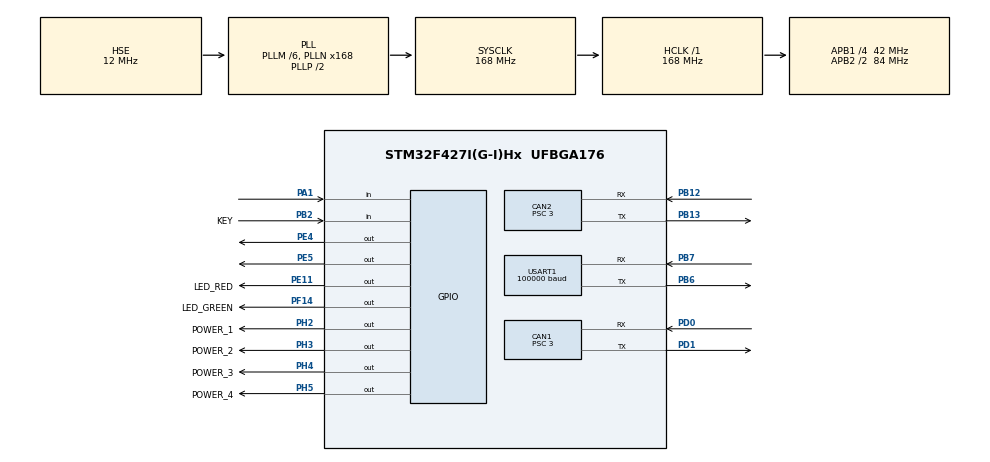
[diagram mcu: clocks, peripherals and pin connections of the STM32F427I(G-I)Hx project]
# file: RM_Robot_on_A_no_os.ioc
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CAN1.BS1=CAN_BS1_9TQ
CAN1.BS2=CAN_BS2_4TQ
CAN1.CalculateBaudRate=1000000
CAN1.CalculateTimeBit=1000
CAN1.CalculateTimeQuantum=71.42857142857143
CAN1.Prescaler=3
CAN2.BS1=CAN_BS1_9TQ
CAN2.BS2=CAN_BS2_4TQ
CAN2.CalculateBaudRate=1000000
CAN2.CalculateTimeBit=1000
CAN2.CalculateTimeQuantum=71.42857142857143
CAN2.Prescaler=3
Dma.Request0=USART1_RX
Dma.USART1_RX.0.Direction=DMA_PERIPH_TO_MEMORY
Dma.USART1_RX.0.FIFOMode=DMA_FIFOMODE_DISABLE
Dma.USART1_RX.0.Instance=DMA2_Stream2
Dma.USART1_RX.0.MemDataAlignment=DMA_MDATAALIGN_BYTE
Dma.USART1_RX.0.MemInc=DMA_MINC_ENABLE
Dma.USART1_RX.0.Mode=DMA_NORMAL
Dma.USART1_RX.0.PeriphDataAlignment=DMA_PDATAALIGN_BYTE
Dma.USART1_RX.0.PeriphInc=DMA_PINC_DISABLE
Dma.USART1_RX.0.Priority=DMA_PRIORITY_LOW
Mcu.Family=STM32F4
Mcu.Name=STM32F427I(G-I)Hx
Mcu.Package=UFBGA176
NVIC.CAN1_RX0_IRQn=true\:0\:0\:false\:false\:true\:true\:true\:true
NVIC.CAN1_TX_IRQn=true\:0\:0\:false\:false\:true\:true\:true\:true
NVIC.CAN2_RX0_IRQn=true\:0\:0\:false\:false\:true\:true\:true\:true
NVIC.CAN2_TX_IRQn=true\:0\:0\:false\:false\:true\:true\:true\:true
NVIC.DMA2_Stream2_IRQn=true\:0\:0\:false\:false\:true\:false\:true\:true
NVIC.PriorityGroup=NVIC_PRIORITYGROUP_4
NVIC.USART1_IRQn=true\:0\:0\:false\:false\:false\:true\:true\:true
PA1.GPIO_PuPd=GPIO_PULLDOWN
PA1.Signal=GPIO_Input
PA13.Mode=Serial_Wire
PA13.Signal=SYS_JTMS-SWDIO
PA14.Mode=Serial_Wire
PA14.Signal=SYS_JTCK-SWCLK
PB12.Mode=CAN_Activate
PB12.Signal=CAN2_RX
PB13.Mode=CAN_Activate
PB13.Signal=CAN2_TX
PB2/BOOT1.GPIO_Label=KEY
PB2/BOOT1.Signal=GPIO_Input
PB6.Mode=Asynchronous
PB6.Signal=USART1_TX
PB7.Mode=Asynchronous
PB7.Signal=USART1_RX
PD0.Mode=CAN_Activate
PD0.Signal=CAN1_RX
PD1.Mode=CAN_Activate
PD1.Signal=CAN1_TX
PE11.GPIO_Label=LED_RED
PE11.Signal=GPIO_Output
PE4.GPIO_PuPd=GPIO_PULLDOWN
PE4.Signal=GPIO_Output
PE5.GPIO_PuPd=GPIO_PULLDOWN
PE5.Signal=GPIO_Output
PF14.GPIO_Label=LED_GREEN
PF14.Signal=GPIO_Output
PH0/OSC_IN.Mode=HSE-External-Oscillator
PH0/OSC_IN.Signal=RCC_OSC_IN
PH1/OSC_OUT.Mode=HSE-External-Oscillator
PH1/OSC_OUT.Signal=RCC_OSC_OUT
PH2.GPIO_Label=POWER_1
PH2.Signal=GPIO_Output
PH3.GPIO_Label=POWER_2
PH3.Signal=GPIO_Output
PH4.GPIO_Label=POWER_3
PH4.Signal=GPIO_Output
PH5.GPIO_Label=POWER_4
PH5.Signal=GPIO_Output
ProjectManager.HeapSize=0x200
ProjectManager.StackSize=0x400
ProjectManager.TargetToolchain=MDK-ARM V5
RCC.48MHZClocksFreq_Value=84000000
RCC.AHBFreq_Value=168000000
RCC.APB1CLKDivider=RCC_HCLK_DIV4
RCC.APB1Freq_Value=42000000
RCC.APB1TimFreq_Value=84000000
RCC.APB2CLKDivider=RCC_HCLK_DIV2
RCC.APB2Freq_Value=84000000
RCC.APB2TimFreq_Value=168000000
RCC.CortexFreq_Value=168000000
RCC.HCLKFreq_Value=168000000
RCC.HSE_VALUE=12000000
RCC.HSI_VALUE=16000000
RCC.LSE_VALUE=32768
RCC.PLLM=6
RCC.PLLN=168
RCC.PLLSourceVirtual=RCC_PLLSOURCE_HSE
RCC.SYSCLKFreq_VALUE=168000000
RCC.SYSCLKSource=RCC_SYSCLKSOURCE_PLLCLK
RCC.VCOOutputFreq_Value=336000000
USART1.BaudRate=100000
USART1.Parity=PARITY_EVEN
USART1.VirtualMode=VM_ASYNC
board=custom

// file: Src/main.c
/* USER CODE BEGIN Header */
/**
  ******************************************************************************
  * @file           : main.c
  * @brief          : Main program body
  ******************************************************************************
  * @attention
  *
  * <h2><center>&copy; Copyright (c) 2022 STMicroelectronics.
  * All rights reserved.</center></h2>
  *
  * This software component is licensed by ST under BSD 3-Clause license,
  * the "License"; You may not use this file except in compliance with the
  * License. You may obtain a copy of the License at:
  *                        opensource.org/licenses/BSD-3-Clause
  *
  ******************************************************************************
  */
/* USER CODE END Header */
#include "main.h"
#include "can.h"
#include "dma.h"
#include "usart.h"
#include "gpio.h"

/* USER CODE BEGIN Includes */
#include "bsp_can.h"
#include "pid.h"
#include "remote_control.h"

/* USER CODE END Includes */

/* USER CODE BEGIN PM */
extern uint8_t UART_Buffer[100];
extern Motor_measure_t Motor_measure[14];
extern PID_typedef Motor_pid[14];
int16_t spd1;
int16_t spd2;
/* USER CODE END PM */

void SystemClock_Config(void);

int main(void)
{

  /* MCU Configuration--------------------------------------------------------*/

  /* Reset of all peripherals, Initializes the Flash interface and the Systick. */
  HAL_Init();

  /* Configure the system clock */
  SystemClock_Config();

  /* Initialize all configured peripherals */
  MX_GPIO_Init();
  MX_CAN1_Init();
  MX_CAN2_Init();
  MX_DMA_Init();
  MX_USART1_UART_Init();
  /* USER CODE BEGIN 2 */
	HAL_UART_Receive_IT_IDLE(&huart1,UART_Buffer,100);   //启动串口3接收
	can_filter_init();
	PID_Total_Init();
	HAL_GPIO_WritePin(POWER_4_GPIO_Port,POWER_4_Pin,GPIO_PIN_SET);
  /* USER CODE END 2 */

  /* Infinite loop */
  while (1)
  {

    /* USER CODE BEGIN 3 */
		//demo for M2006
		//spd1 = remote_control.ch1 * 6000/ 660;
		spd1=2000;
		Motor_measure[0].Output = PID_calc(&Motor_pid[0],Motor_measure[0].speed,spd1);
		Set_motor_cmd(&hcan1,First_STDID,Motor_measure[0].Output,0,0,0);
		HAL_Delay(10);

  }
  /* USER CODE END 3 */
}

void SystemClock_Config(void)
{
  RCC_OscInitTypeDef RCC_OscInitStruct = {0};
  RCC_ClkInitTypeDef RCC_ClkInitStruct = {0};

  /** Configure the main internal regulator output voltage
  */
  __HAL_RCC_PWR_CLK_ENABLE();
  __HAL_PWR_VOLTAGESCALING_CONFIG(PWR_REGULATOR_VOLTAGE_SCALE1);
  /** Initializes the RCC Oscillators according to the specified parameters
  * in the RCC_OscInitTypeDef structure.
  */
  RCC_OscInitStruct.OscillatorType = RCC_OSCILLATORTYPE_HSE;
  RCC_OscInitStruct.HSEState = RCC_HSE_ON;
  RCC_OscInitStruct.PLL.PLLState = RCC_PLL_ON;
  RCC_OscInitStruct.PLL.PLLSource = RCC_PLLSOURCE_HSE;
  RCC_OscInitStruct.PLL.PLLM = 6;
  RCC_OscInitStruct.PLL.PLLN = 168;
  RCC_OscInitStruct.PLL.PLLP = RCC_PLLP_DIV2;
  RCC_OscInitStruct.PLL.PLLQ = 4;
  if (HAL_RCC_OscConfig(&RCC_OscInitStruct) != HAL_OK)
  {
    Error_Handler();
  }
  /** Initializes the CPU, AHB and APB buses clocks
  */
  RCC_ClkInitStruct.ClockType = RCC_CLOCKTYPE_HCLK|RCC_CLOCKTYPE_SYSCLK
                              |RCC_CLOCKTYPE_PCLK1|RCC_CLOCKTYPE_PCLK2;
  RCC_ClkInitStruct.SYSCLKSource = RCC_SYSCLKSOURCE_PLLCLK;
  RCC_ClkInitStruct.AHBCLKDivider = RCC_SYSCLK_DIV1;
  RCC_ClkInitStruct.APB1CLKDivider = RCC_HCLK_DIV4;
  RCC_ClkInitStruct.APB2CLKDivider = RCC_HCLK_DIV2;

  if (HAL_RCC_ClockConfig(&RCC_ClkInitStruct, FLASH_LATENCY_5) != HAL_OK)
  {
    Error_Handler();
  }
}

void Error_Handler(void)
{
  __disable_irq();
  while (1)
  {
  }
}

/************************ (C) COPYRIGHT STMicroelectronics *****END OF FILE****/
